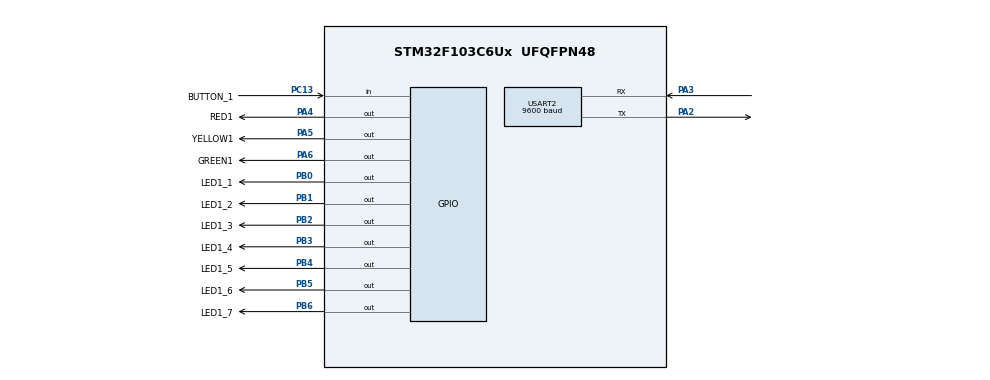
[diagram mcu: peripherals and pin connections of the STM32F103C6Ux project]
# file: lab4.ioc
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Mcu.Family=STM32F1
Mcu.Name=STM32F103C6Ux
Mcu.Package=UFQFPN48
NVIC.PriorityGroup=NVIC_PRIORITYGROUP_4
NVIC.TIM2_IRQn=true\:0\:0\:false\:false\:true\:true\:true
NVIC.USART2_IRQn=true\:0\:0\:false\:false\:true\:true\:true
PA2.Mode=Asynchronous
PA2.Signal=USART2_TX
PA3.Mode=Asynchronous
PA3.Signal=USART2_RX
PA4.GPIO_Label=RED1
PA4.Signal=GPIO_Output
PA5.GPIO_Label=YELLOW1
PA5.Signal=GPIO_Output
PA6.GPIO_Label=GREEN1
PA6.Signal=GPIO_Output
PB0.GPIO_Label=LED1_1
PB0.Signal=GPIO_Output
PB1.GPIO_Label=LED1_2
PB1.Signal=GPIO_Output
PB2.GPIO_Label=LED1_3
PB2.Signal=GPIO_Output
PB3.GPIO_Label=LED1_4
PB3.Signal=GPIO_Output
PB4.GPIO_Label=LED1_5
PB4.Signal=GPIO_Output
PB5.GPIO_Label=LED1_6
PB5.Signal=GPIO_Output
PB6.GPIO_Label=LED1_7
PB6.Signal=GPIO_Output
PC13-TAMPER-RTC.GPIO_Label=BUTTON_1
PC13-TAMPER-RTC.GPIO_PuPd=GPIO_PULLUP
PC13-TAMPER-RTC.Signal=GPIO_Input
ProjectManager.HeapSize=0x200
ProjectManager.StackSize=0x400
ProjectManager.TargetToolchain=STM32CubeIDE
RCC.APB1Freq_Value=8000000
RCC.APB2Freq_Value=8000000
TIM2.Period=9
TIM2.Prescaler=7999
USART2.BaudRate=9600
USART2.VirtualMode=VM_ASYNC
VP_SYS_VS_ND.Mode=No_Debug
VP_TIM2_VS_ClockSourceINT.Mode=Internal
board=custom

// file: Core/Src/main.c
/* USER CODE BEGIN Header */
/**
  ******************************************************************************
  * @file           : main.c
  * @brief          : Main program body
  ******************************************************************************
  * @attention
  *
  * <h2><center>&copy; Copyright (c) 2022 STMicroelectronics.
  * All rights reserved.</center></h2>
  *
  * This software component is licensed by ST under BSD 3-Clause license,
  * the "License"; You may not use this file except in compliance with the
  * License. You may obtain a copy of the License at:
  *                        opensource.org/licenses/BSD-3-Clause
  *
  ******************************************************************************
  */
/* USER CODE END Header */
#include "main.h"

/* USER CODE BEGIN Includes */
#include "scheduler.h"
#include "global.h"
#include "button.h"
#include <stdio.h>
/* USER CODE END Includes */

TIM_HandleTypeDef htim2;

UART_HandleTypeDef huart2;

void SystemClock_Config(void);
static void MX_TIM2_Init(void);
static void MX_GPIO_Init(void);
static void MX_USART2_UART_Init(void);

/* USER CODE BEGIN 0 */
void uart_print()
{
	char str[50];
	HAL_UART_Transmit(&huart2, str, sprintf(str, "Current_time is: %d\r", time), 1000);
}

/* USER CODE END 0 */

int main(void)
{

  /* MCU Configuration--------------------------------------------------------*/

  /* Reset of all peripherals, Initializes the Flash interface and the Systick. */
  HAL_Init();

  /* Configure the system clock */
  SystemClock_Config();

  /* Initialize all configured peripherals */
  MX_TIM2_Init();
  MX_GPIO_Init();
  MX_USART2_UART_Init();
  /* USER CODE BEGIN 2 */
  HAL_TIM_Base_Start_IT(&htim2);
//  flagForButtonPressed[0] = 0;
//  flagForButtonPressed[1] = 0;

  /* USER CODE END 2 */

  /* Infinite loop */
  /* USER CODE BEGIN WHILE */
  	  SCH_Init();
  	  SCH_Add_Task(uart_print, 0, 50);
  	  SCH_Add_Task(update_time, 0, 1);
  	  SCH_Add_Task(add_counter,100,100);
  	  SCH_Add_Task(displayNum,0,100);
  	  SCH_Add_Task(toggleRed, 100, 100);
  	  SCH_Add_Task(toggleYellow, 50, 200);
  	  SCH_Add_Task(toggleGreen, 150, 250);

  while (1)
  {
    /* USER CODE END WHILE */

    /* USER CODE BEGIN 3 */
	  SCH_Dispatch_Tasks();
  }
  /* USER CODE END 3 */
}

void SystemClock_Config(void)
{
  RCC_OscInitTypeDef RCC_OscInitStruct = {0};
  RCC_ClkInitTypeDef RCC_ClkInitStruct = {0};

  /** Initializes the RCC Oscillators according to the specified parameters
  * in the RCC_OscInitTypeDef structure.
  */
  RCC_OscInitStruct.OscillatorType = RCC_OSCILLATORTYPE_HSI;
  RCC_OscInitStruct.HSIState = RCC_HSI_ON;
  RCC_OscInitStruct.HSICalibrationValue = RCC_HSICALIBRATION_DEFAULT;
  RCC_OscInitStruct.PLL.PLLState = RCC_PLL_NONE;
  if (HAL_RCC_OscConfig(&RCC_OscInitStruct) != HAL_OK)
  {
    Error_Handler();
  }
  /** Initializes the CPU, AHB and APB buses clocks
  */
  RCC_ClkInitStruct.ClockType = RCC_CLOCKTYPE_HCLK|RCC_CLOCKTYPE_SYSCLK
                              |RCC_CLOCKTYPE_PCLK1|RCC_CLOCKTYPE_PCLK2;
  RCC_ClkInitStruct.SYSCLKSource = RCC_SYSCLKSOURCE_HSI;
  RCC_ClkInitStruct.AHBCLKDivider = RCC_SYSCLK_DIV1;
  RCC_ClkInitStruct.APB1CLKDivider = RCC_HCLK_DIV1;
  RCC_ClkInitStruct.APB2CLKDivider = RCC_HCLK_DIV1;

  if (HAL_RCC_ClockConfig(&RCC_ClkInitStruct, FLASH_LATENCY_0) != HAL_OK)
  {
    Error_Handler();
  }
}

static void MX_TIM2_Init(void)
{

  TIM_ClockConfigTypeDef sClockSourceConfig = {0};
  TIM_MasterConfigTypeDef sMasterConfig = {0};

  htim2.Instance = TIM2;
  htim2.Init.Prescaler = 7999;
  htim2.Init.CounterMode = TIM_COUNTERMODE_UP;
  htim2.Init.Period = 9;
  htim2.Init.ClockDivision = TIM_CLOCKDIVISION_DIV1;
  htim2.Init.AutoReloadPreload = TIM_AUTORELOAD_PRELOAD_DISABLE;
  if (HAL_TIM_Base_Init(&htim2) != HAL_OK)
  {
    Error_Handler();
  }
  sClockSourceConfig.ClockSource = TIM_CLOCKSOURCE_INTERNAL;
  if (HAL_TIM_ConfigClockSource(&htim2, &sClockSourceConfig) != HAL_OK)
  {
    Error_Handler();
  }
  sMasterConfig.MasterOutputTrigger = TIM_TRGO_RESET;
  sMasterConfig.MasterSlaveMode = TIM_MASTERSLAVEMODE_DISABLE;
  if (HAL_TIMEx_MasterConfigSynchronization(&htim2, &sMasterConfig) != HAL_OK)
  {
    Error_Handler();
  }

}

static void MX_USART2_UART_Init(void)
{

  huart2.Instance = USART2;
  huart2.Init.BaudRate = 9600;
  huart2.Init.WordLength = UART_WORDLENGTH_8B;
  huart2.Init.StopBits = UART_STOPBITS_1;
  huart2.Init.Parity = UART_PARITY_NONE;
  huart2.Init.Mode = UART_MODE_TX_RX;
  huart2.Init.HwFlowCtl = UART_HWCONTROL_NONE;
  huart2.Init.OverSampling = UART_OVERSAMPLING_16;
  if (HAL_UART_Init(&huart2) != HAL_OK)
  {
    Error_Handler();
  }

}

static void MX_GPIO_Init(void)
{
  GPIO_InitTypeDef GPIO_InitStruct = {0};

  /* GPIO Ports Clock Enable */
  __HAL_RCC_GPIOC_CLK_ENABLE();
  __HAL_RCC_GPIOA_CLK_ENABLE();
  __HAL_RCC_GPIOB_CLK_ENABLE();

  /*Configure GPIO pin Output Level */
  HAL_GPIO_WritePin(GPIOA, RED1_Pin|YELLOW1_Pin|GREEN1_Pin, GPIO_PIN_RESET);

  /*Configure GPIO pin Output Level */
  HAL_GPIO_WritePin(GPIOB, LED1_1_Pin|LED1_2_Pin|LED1_3_Pin|LED1_4_Pin
                          |LED1_5_Pin|LED1_6_Pin|LED1_7_Pin, GPIO_PIN_RESET);

  /*Configure GPIO pin : BUTTON_1_Pin */
  GPIO_InitStruct.Pin = BUTTON_1_Pin;
  GPIO_InitStruct.Mode = GPIO_MODE_INPUT;
  GPIO_InitStruct.Pull = GPIO_PULLUP;
  HAL_GPIO_Init(BUTTON_1_GPIO_Port, &GPIO_InitStruct);

  /*Configure GPIO pins : RED1_Pin YELLOW1_Pin GREEN1_Pin */
  GPIO_InitStruct.Pin = RED1_Pin|YELLOW1_Pin|GREEN1_Pin;
  GPIO_InitStruct.Mode = GPIO_MODE_OUTPUT_PP;
  GPIO_InitStruct.Pull = GPIO_NOPULL;
  GPIO_InitStruct.Speed = GPIO_SPEED_FREQ_LOW;
  HAL_GPIO_Init(GPIOA, &GPIO_InitStruct);

  /*Configure GPIO pins : LED1_1_Pin LED1_2_Pin LED1_3_Pin LED1_4_Pin
                           LED1_5_Pin LED1_6_Pin LED1_7_Pin */
  GPIO_InitStruct.Pin = LED1_1_Pin|LED1_2_Pin|LED1_3_Pin|LED1_4_Pin
                          |LED1_5_Pin|LED1_6_Pin|LED1_7_Pin;
  GPIO_InitStruct.Mode = GPIO_MODE_OUTPUT_PP;
  GPIO_InitStruct.Pull = GPIO_NOPULL;
  GPIO_InitStruct.Speed = GPIO_SPEED_FREQ_LOW;
  HAL_GPIO_Init(GPIOB, &GPIO_InitStruct);

}

/* USER CODE BEGIN 4 */
void HAL_TIM_PeriodElapsedCallback(TIM_HandleTypeDef *htim){
	  SCH_Update();
}
/* USER CODE END 4 */

void Error_Handler(void)
{
  __disable_irq();
  while (1)
  {
  }
}

/************************ (C) COPYRIGHT STMicroelectronics *****END OF FILE****/
